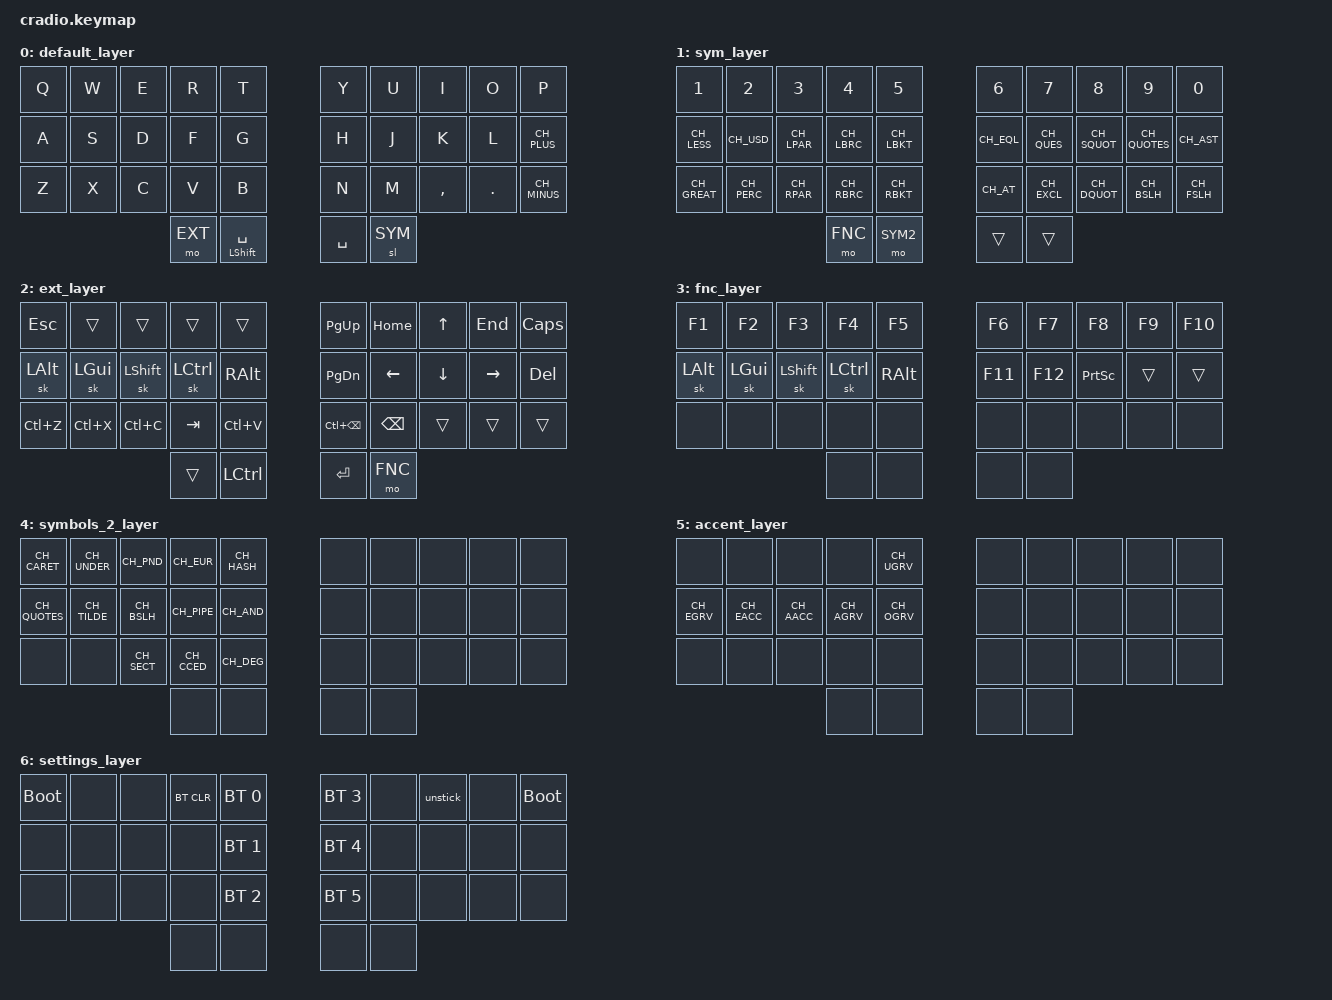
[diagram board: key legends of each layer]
/*
 * Copyright (c) 2020 The ZMK Contributors
 *
 * SPDX-License-Identifier: MIT
 */

#include <behaviors.dtsi>
#include <dt-bindings/zmk/keys.h>
#include <dt-bindings/zmk/bt.h>
#include "keymap_swiss.h"

// Layer definitions
    #define BASE 0
    #define SYM 1
    #define EXT 2
    #define FNC 3
    #define SYM2 4
    #define ACCENT 5
	#define SETTINGS 6
// -----------------

&mt {
   //  flavor = "tap-preferred";
   // tapping_term_ms = <200>;
};

&sk {
    ignore-modifiers;
};

/ {
		macros {
				// sometimes my device thinks a modifier is being held down
				// pressing all modifiers fixes it.
				unstick: unstick {
					label = "ZM_unstick";
					compatible = "zmk,behavior-macro";
					#binding-cells = <0>;
					bindings
						= <&kp LSHIFT &kp RSHIFT &kp LCTRL &kp RCTRL &kp LALT &kp RALT &kp LGUI &kp RGUI>;
				};
		};

    combos {
        compatible = "zmk,combos";
				// both right thumb keys
        combo_accent {
            timeout-ms = <300>;
            key-positions = <32 33>;
            bindings = <&mo ACCENT>;
        };
				// internal-left & external-right thumb keys
				combo_sym2 {
						timeout-ms = <200>;
						key-positions = <31 33>;
						bindings = <&mo SYM2>;
				};
				// both left thumb keys
				combo_settings {
						timeout-ms = <300>;
						key-positions = <30 31>;
						bindings = <&mo SETTINGS>;
				};
    };

    keymap {
            compatible = "zmk,keymap";

        // Base alpha layer
       		default_layer {
		bindings = <
		&kp Q &kp W &kp E   &kp R &kp T           &kp Y &kp U  &kp I     &kp O   &kp P 
		&kp A &kp S &kp D   &kp F &kp G           &kp H &kp J  &kp K     &kp L   &kp CH_PLUS
		&kp Z &kp X &kp C   &kp V &kp B           &kp N &kp M  &kp COMMA &kp DOT &kp CH_MINUS
                    &mo EXT &mt LSHIFT SPACE      &kp SPACE    &sl SYM
		>;
		};

        // Numbers and high frequency symbols
       		sym_layer {
		bindings = <
		&kp N1 &kp N2 &kp N3 &kp N4 &kp N5		                        &kp N6     &kp N7      &kp N8       &kp N9        &kp N0
		&kp CH_LESS  &kp CH_USD  &kp CH_LPAR &kp CH_LBRC &kp CH_LBKT    &kp CH_EQL &kp CH_QUES &kp CH_SQUOT &kp CH_QUOTES &kp CH_AST
		&kp CH_GREAT &kp CH_PERC &kp CH_RPAR &kp CH_RBRC &kp CH_RBKT 	&kp CH_AT  &kp CH_EXCL &kp CH_DQUOT &kp CH_BSLH   &kp CH_FSLH
					                         &mo FNC     &mo SYM2       &trans     &trans
		>;
		};

        // Main modifiers and arrow keys
		    ext_layer {
		bindings = <
		&kp ESC   &trans    &trans     &trans    &trans    			&kp PG_UP    &kp HOME &kp UP   &kp END   &kp CAPS
		&sk LALT  &sk LGUI  &sk LSHIFT &sk LCTRL &kp RALT 			&kp PG_DN    &kp LEFT &kp DOWN &kp RIGHT &kp DEL
		&kp LC(Z) &kp LC(X) &kp LC(C)  &kp TAB   &kp LC(V)          &kp LC(BSPC) &kp BSPC &trans   &trans    &trans
					                   &trans    &kp LCTRL          &kp ENTER    &mo FNC 
		>;
		};

        // Function keys with modifiers
       		fnc_layer {
		bindings = <
		&kp F1   &kp F2   &kp F3     &kp F4    &kp F5       &kp F6  &kp F7  &kp F8          &kp F9 &kp F10 
		&sk LALT &sk LGUI &sk LSHIFT &sk LCTRL &kp RALT     &kp F11 &kp F12 &kp PRINTSCREEN &trans &trans
		&none    &none    &none      &none     &none		&none   &none   &none           &none  &none 
          				             &none     &none        &none   &none  
		>;
		};

        // Low frequency symbols.
       		symbols_2_layer {
		bindings = <
		&kp CH_CARET  &kp CH_UNDER &kp CH_PND  &kp CH_EUR  &kp CH_HASH        &none &none &none &none &none 
		&kp CH_QUOTES &kp CH_TILDE &kp CH_BSLH &kp CH_PIPE &kp CH_AND         &none &none &none &none &none
		&none         &none        &kp CH_SECT &kp CH_CCED &kp CH_DEG		  &none &none &none &none &none
          				           			   &none       &none        	  &none &none 
		>;
		};

        // Used to type regional accents.
       		accent_layer {
		bindings = <
		&none       &none       &none       &none       &kp CH_UGRV   &none &none &none &none &none 
		&kp CH_EGRV &kp CH_EACC &kp CH_AACC &kp CH_AGRV &kp CH_OGRV   &none &none &none &none &none
		&none       &none       &none       &none       &none         &none &none &none &none &none
          				                    &none       &none         &none &none 
		>;
		};

        // Used to change the keyboard's settings.
       		settings_layer {
		bindings = <
		&bootloader &none &none &bt BT_CLR &bt BT_SEL 0               &bt BT_SEL 3 &none &unstick &none &bootloader 
		&none       &none &none &none      &bt BT_SEL 1               &bt BT_SEL 4 &none &none    &none &none
		&none       &none &none &none      &bt BT_SEL 2               &bt BT_SEL 5 &none &none    &none &none
          				        &none      &none                      &none        &none 
		>;
		};
        
	};
};
